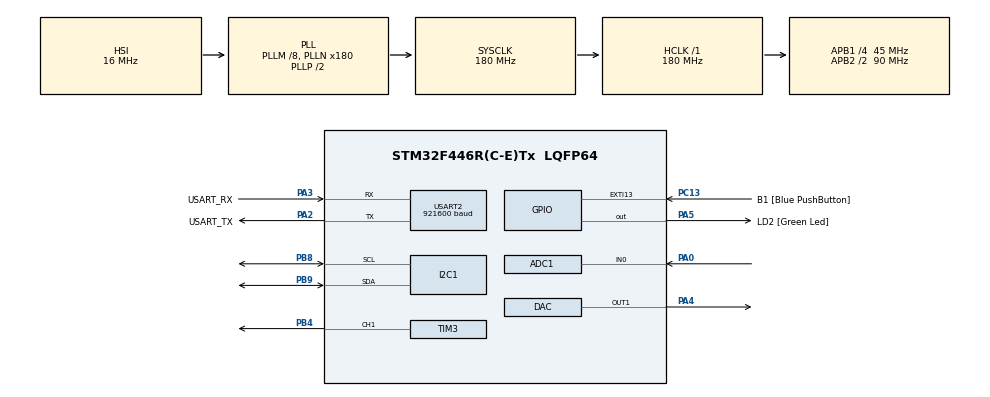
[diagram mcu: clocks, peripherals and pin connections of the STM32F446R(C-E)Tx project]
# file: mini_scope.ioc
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ADC1.Channel-0\#ChannelRegularConversion=ADC_CHANNEL_0
ADC1.ContinuousConvMode=DISABLE
ADC1.DMAContinuousRequests=ENABLE
ADC1.ExternalTrigConv=ADC_EXTERNALTRIGCONV_T2_TRGO
ADC1.NbrOfConversionFlag=1
ADC1.Rank-0\#ChannelRegularConversion=1
ADC1.SamplingTime-0\#ChannelRegularConversion=ADC_SAMPLETIME_56CYCLES
ADC1.master=1
DAC.DAC_Trigger=DAC_TRIGGER_T6_TRGO
Dma.ADC1.0.Direction=DMA_PERIPH_TO_MEMORY
Dma.ADC1.0.FIFOMode=DMA_FIFOMODE_DISABLE
Dma.ADC1.0.Instance=DMA2_Stream0
Dma.ADC1.0.MemDataAlignment=DMA_MDATAALIGN_HALFWORD
Dma.ADC1.0.MemInc=DMA_MINC_ENABLE
Dma.ADC1.0.Mode=DMA_CIRCULAR
Dma.ADC1.0.PeriphDataAlignment=DMA_PDATAALIGN_HALFWORD
Dma.ADC1.0.PeriphInc=DMA_PINC_DISABLE
Dma.ADC1.0.Priority=DMA_PRIORITY_LOW
Dma.DAC1.1.Direction=DMA_MEMORY_TO_PERIPH
Dma.DAC1.1.FIFOMode=DMA_FIFOMODE_DISABLE
Dma.DAC1.1.Instance=DMA1_Stream5
Dma.DAC1.1.MemDataAlignment=DMA_MDATAALIGN_HALFWORD
Dma.DAC1.1.MemInc=DMA_MINC_ENABLE
Dma.DAC1.1.Mode=DMA_CIRCULAR
Dma.DAC1.1.PeriphDataAlignment=DMA_PDATAALIGN_HALFWORD
Dma.DAC1.1.PeriphInc=DMA_PINC_DISABLE
Dma.DAC1.1.Priority=DMA_PRIORITY_LOW
Dma.Request0=ADC1
Dma.Request1=DAC1
Mcu.Family=STM32F4
Mcu.Name=STM32F446R(C-E)Tx
Mcu.Package=LQFP64
NVIC.DMA1_Stream5_IRQn=true\:0\:0\:false\:false\:true\:false\:true\:true
NVIC.DMA2_Stream0_IRQn=true\:0\:0\:false\:false\:true\:false\:true\:true
NVIC.PriorityGroup=NVIC_PRIORITYGROUP_0
PA0-WKUP.Signal=ADCx_IN0
PA13.GPIO_Label=TMS
PA13.Mode=Serial_Wire
PA13.Signal=SYS_JTMS-SWDIO
PA14.GPIO_Label=TCK
PA14.Mode=Serial_Wire
PA14.Signal=SYS_JTCK-SWCLK
PA2.GPIO_Label=USART_TX
PA2.Mode=Asynchronous
PA2.Signal=USART2_TX
PA3.GPIO_Label=USART_RX
PA3.Mode=Asynchronous
PA3.Signal=USART2_RX
PA4.Signal=COMP_DAC1_group
PA5.GPIO_Label=LD2 [Green Led]
PA5.Signal=GPIO_Output
PB3.GPIO_Label=SWO
PB3.Signal=SYS_JTDO-SWO
PB4.Signal=S_TIM3_CH1
PB8.Mode=I2C
PB8.Signal=I2C1_SCL
PB9.Mode=I2C
PB9.Signal=I2C1_SDA
PC13.GPIO_Label=B1 [Blue PushButton]
PC13.GPIO_ModeDefaultEXTI=GPIO_MODE_IT_FALLING
PC13.Signal=GPXTI13
PC14-OSC32_IN.Mode=LSE-External-Oscillator
PC14-OSC32_IN.Signal=RCC_OSC32_IN
PC15-OSC32_OUT.Mode=LSE-External-Oscillator
PC15-OSC32_OUT.Signal=RCC_OSC32_OUT
PH0-OSC_IN.Mode=HSE-External-Oscillator
PH0-OSC_IN.Signal=RCC_OSC_IN
PH1-OSC_OUT.Mode=HSE-External-Oscillator
PH1-OSC_OUT.Signal=RCC_OSC_OUT
ProjectManager.HeapSize=0x200
ProjectManager.StackSize=0x400
ProjectManager.TargetToolchain=STM32CubeIDE
RCC.48MHZClocksFreq_Value=84000000
RCC.AHBFreq_Value=180000000
RCC.APB1CLKDivider=RCC_HCLK_DIV4
RCC.APB1Freq_Value=45000000
RCC.APB1TimFreq_Value=90000000
RCC.APB2CLKDivider=RCC_HCLK_DIV2
RCC.APB2Freq_Value=90000000
RCC.APB2TimFreq_Value=180000000
RCC.CortexFreq_Value=180000000
RCC.FLatency-AdvancedSettings=FLASH_LATENCY_5
RCC.HCLKFreq_Value=180000000
RCC.HSE_VALUE=8000000
RCC.HSI_VALUE=16000000
RCC.PLLM=8
RCC.PLLN=180
RCC.SYSCLKFreq_VALUE=180000000
RCC.SYSCLKSource=RCC_SYSCLKSOURCE_PLLCLK
RCC.USBFreq_Value=180000000
RCC.VCOOutputFreq_Value=360000000
SH.ADCx_IN0.0=ADC1_IN0,IN0
SH.COMP_DAC1_group.0=DAC_OUT1,DAC_OUT1
SH.S_TIM3_CH1.0=TIM3_CH1,PWM Generation1 CH1
TIM2.Period=9
TIM2.Prescaler=89
TIM2.TIM_MasterOutputTrigger=TIM_TRGO_UPDATE
TIM3.Channel-PWM\ Generation1\ CH1=TIM_CHANNEL_1
TIM3.Period=999
TIM3.Prescaler=89
TIM3.Pulse-PWM\ Generation1\ CH1=500
TIM6.Period=899
TIM6.TIM_MasterOutputTrigger=TIM_TRGO_UPDATE
USART2.BaudRate=921600
USART2.VirtualMode=VM_ASYNC
VP_TIM2_VS_ClockSourceINT.Mode=Internal
VP_TIM6_VS_ClockSourceINT.Mode=Enable_Timer
board=NUCLEO-F446RE

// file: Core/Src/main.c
/* USER CODE BEGIN Header */
/* USER CODE END Header */
#include "main.h"

/* USER CODE BEGIN Includes */
#include <string.h>
#include <stdio.h>
#include <math.h>
/* USER CODE END Includes */

ADC_HandleTypeDef hadc1;
DMA_HandleTypeDef hdma_adc1;

DAC_HandleTypeDef hdac;
DMA_HandleTypeDef hdma_dac1;

I2C_HandleTypeDef hi2c1;

TIM_HandleTypeDef htim2;
TIM_HandleTypeDef htim3;
TIM_HandleTypeDef htim6;

UART_HandleTypeDef huart2;

/* USER CODE BEGIN PV */
#define N_WAVE 100
uint16_t wave[N_WAVE];
uint16_t adc_buf[512];
uint8_t  header[2] = {0xAA, 0x55};
uint16_t frame[512];
volatile uint8_t frame_ready = 0;
uint32_t last_lcd = 0;

int wave_type = 0;
uint8_t btn_prev = 1;
uint32_t last_btn = 0;
const char *wave_names[3] = {"Sin", "Tri", "Sqr"};
/* USER CODE END PV */

void SystemClock_Config(void);
static void MX_GPIO_Init(void);
static void MX_DMA_Init(void);
static void MX_USART2_UART_Init(void);
static void MX_ADC1_Init(void);
static void MX_TIM2_Init(void);
static void MX_TIM3_Init(void);
static void MX_I2C1_Init(void);
static void MX_DAC_Init(void);
static void MX_TIM6_Init(void);

/* USER CODE BEGIN 0 */
#define LCD_BL 0x08
#define LCD_EN 0x04
#define LCD_RS 0x01

void make_wave(int type)
{
  for (int i = 0; i < N_WAVE; i++)
  {
    float x = (float)i / N_WAVE;
    float y;
    if (type == 0)      y = sinf(2.0f * 3.14159265f * x);
    else if (type == 1) y = (x < 0.5f) ? (4.0f * x - 1.0f) : (3.0f - 4.0f * x);
    else                y = (x < 0.5f) ? 1.0f : -1.0f;
    wave[i] = (uint16_t)(2048.0f + 1800.0f * y);
  }
}

uint8_t lcd_addr = 0x27 << 1;

static void lcd_write4(uint8_t nibble, uint8_t rs)
{
  uint8_t d = (nibble & 0xF0) | LCD_BL | rs;
  uint8_t buf[2] = { d | LCD_EN, d };
  HAL_I2C_Master_Transmit(&hi2c1, lcd_addr, buf, 2, 10);
}

static void lcd_send(uint8_t value, uint8_t rs)
{
  lcd_write4(value & 0xF0, rs);
  lcd_write4((value << 4) & 0xF0, rs);
}

static void lcd_cmd(uint8_t c)  { lcd_send(c, 0); HAL_Delay(2); }
static void lcd_data(uint8_t c) { lcd_send(c, LCD_RS); }

void lcd_init(void)
{
  HAL_Delay(50);
  lcd_write4(0x30, 0); HAL_Delay(5);
  lcd_write4(0x30, 0); HAL_Delay(1);
  lcd_write4(0x30, 0); HAL_Delay(1);
  lcd_write4(0x20, 0); HAL_Delay(1);
  lcd_cmd(0x28);
  lcd_cmd(0x0C);
  lcd_cmd(0x06);
  lcd_cmd(0x01);
}

void lcd_set_cursor(uint8_t row, uint8_t col)
{
  lcd_cmd(0x80 | (col + (row ? 0x40 : 0x00)));
}

void lcd_print(const char *s)
{
  while (*s) lcd_data((uint8_t)*s++);
}

void measure_and_show(void)
{
  uint32_t sum = 0;
  uint16_t mn = 4095, mx = 0;
  for (int i = 0; i < 512; i++)
  {
    uint16_t s = frame[i];
    sum += s;
    if (s < mn) mn = s;
    if (s > mx) mx = s;
  }
  uint32_t vpp_mv = (uint32_t)(mx - mn) * 3300 / 4095;
  uint32_t avg_mv = (sum / 512) * 3300 / 4095;

  uint32_t freq = 0;
  uint16_t span = mx - mn;
  if (span > 200)
  {
    uint16_t mid = (mx + mn) / 2;
    uint16_t hi = mid + span / 4;
    uint16_t lo = mid - span / 4;
    int state = (frame[0] >= hi);
    int count = 0, first = 0, last = 0;
    for (int i = 0; i < 512; i++)
    {
      if (!state && frame[i] > hi)
      {
        state = 1;
        if (count == 0) first = i;
        last = i;
        count++;
      }
      else if (state && frame[i] < lo)
      {
        state = 0;
      }
    }
    if (count >= 2) freq = (uint32_t)(count - 1) * 100000 / (last - first);
  }

  char line[17];
  snprintf(line, sizeof(line), "Vpp:%lu.%02luV  %s  ",
           (unsigned long)(vpp_mv / 1000), (unsigned long)((vpp_mv % 1000) / 10),
           wave_names[wave_type]);
  lcd_set_cursor(0, 0);
  lcd_print(line);
  snprintf(line, sizeof(line), "A:%lu.%02luV F:%4luHz",
           (unsigned long)(avg_mv / 1000), (unsigned long)((avg_mv % 1000) / 10),
           (unsigned long)freq);
  lcd_set_cursor(1, 0);
  lcd_print(line);
}
/* USER CODE END 0 */

int main(void)
{

  HAL_Init();

  SystemClock_Config();

  MX_GPIO_Init();
  MX_DMA_Init();
  MX_USART2_UART_Init();
  MX_ADC1_Init();
  MX_TIM2_Init();
  MX_TIM3_Init();
  MX_I2C1_Init();
  MX_DAC_Init();
  MX_TIM6_Init();
  /* USER CODE BEGIN 2 */
  if (HAL_I2C_IsDeviceReady(&hi2c1, 0x27 << 1, 2, 10) != HAL_OK)
    lcd_addr = 0x3F << 1;
  lcd_init();
  lcd_set_cursor(0, 0);
  lcd_print("Mini Scope");
  lcd_set_cursor(1, 0);
  lcd_print("F446RE ready");

  HAL_ADC_Start_DMA(&hadc1, (uint32_t*)adc_buf, 512);
  HAL_TIM_Base_Start(&htim2);
  HAL_TIM_PWM_Start(&htim3, TIM_CHANNEL_1);

  make_wave(0);
  HAL_DAC_Start_DMA(&hdac, DAC_CHANNEL_1, (uint32_t*)wave, N_WAVE, DAC_ALIGN_12B_R);
  HAL_TIM_Base_Start(&htim6);
  /* USER CODE END 2 */

  while (1)
  {

    /* USER CODE BEGIN 3 */
    uint8_t b = HAL_GPIO_ReadPin(B1_GPIO_Port, B1_Pin);
    if (b == GPIO_PIN_RESET && btn_prev == GPIO_PIN_SET && HAL_GetTick() - last_btn > 200)
    {
      last_btn = HAL_GetTick();
      wave_type = (wave_type + 1) % 3;
      make_wave(wave_type);
    }
    btn_prev = b;

    if (frame_ready)
    {
      HAL_UART_Transmit(&huart2, header, 2, 10);
      HAL_UART_Transmit(&huart2, (uint8_t*)frame, sizeof(frame), 100);
      if (HAL_GetTick() - last_lcd >= 300)
      {
        last_lcd = HAL_GetTick();
        measure_and_show();
      }
      frame_ready = 0;
    }
  }
  /* USER CODE END 3 */
}

void SystemClock_Config(void)
{
  RCC_OscInitTypeDef RCC_OscInitStruct = {0};
  RCC_ClkInitTypeDef RCC_ClkInitStruct = {0};

  __HAL_RCC_PWR_CLK_ENABLE();
  __HAL_PWR_VOLTAGESCALING_CONFIG(PWR_REGULATOR_VOLTAGE_SCALE1);

  RCC_OscInitStruct.OscillatorType = RCC_OSCILLATORTYPE_HSI;
  RCC_OscInitStruct.HSIState = RCC_HSI_ON;
  RCC_OscInitStruct.HSICalibrationValue = RCC_HSICALIBRATION_DEFAULT;
  RCC_OscInitStruct.PLL.PLLState = RCC_PLL_ON;
  RCC_OscInitStruct.PLL.PLLSource = RCC_PLLSOURCE_HSI;
  RCC_OscInitStruct.PLL.PLLM = 8;
  RCC_OscInitStruct.PLL.PLLN = 180;
  RCC_OscInitStruct.PLL.PLLP = RCC_PLLP_DIV2;
  RCC_OscInitStruct.PLL.PLLQ = 2;
  RCC_OscInitStruct.PLL.PLLR = 2;
  if (HAL_RCC_OscConfig(&RCC_OscInitStruct) != HAL_OK)
  {
    Error_Handler();
  }

  if (HAL_PWREx_EnableOverDrive() != HAL_OK)
  {
    Error_Handler();
  }

  RCC_ClkInitStruct.ClockType = RCC_CLOCKTYPE_HCLK|RCC_CLOCKTYPE_SYSCLK
                              |RCC_CLOCKTYPE_PCLK1|RCC_CLOCKTYPE_PCLK2;
  RCC_ClkInitStruct.SYSCLKSource = RCC_SYSCLKSOURCE_PLLCLK;
  RCC_ClkInitStruct.AHBCLKDivider = RCC_SYSCLK_DIV1;
  RCC_ClkInitStruct.APB1CLKDivider = RCC_HCLK_DIV4;
  RCC_ClkInitStruct.APB2CLKDivider = RCC_HCLK_DIV2;

  if (HAL_RCC_ClockConfig(&RCC_ClkInitStruct, FLASH_LATENCY_5) != HAL_OK)
  {
    Error_Handler();
  }
}

static void MX_ADC1_Init(void)
{
  ADC_ChannelConfTypeDef sConfig = {0};

  hadc1.Instance = ADC1;
  hadc1.Init.ClockPrescaler = ADC_CLOCK_SYNC_PCLK_DIV4;
  hadc1.Init.Resolution = ADC_RESOLUTION_12B;
  hadc1.Init.ScanConvMode = DISABLE;
  hadc1.Init.ContinuousConvMode = DISABLE;
  hadc1.Init.DiscontinuousConvMode = DISABLE;
  hadc1.Init.ExternalTrigConvEdge = ADC_EXTERNALTRIGCONVEDGE_RISING;
  hadc1.Init.ExternalTrigConv = ADC_EXTERNALTRIGCONV_T2_TRGO;
  hadc1.Init.DataAlign = ADC_DATAALIGN_RIGHT;
  hadc1.Init.NbrOfConversion = 1;
  hadc1.Init.DMAContinuousRequests = ENABLE;
  hadc1.Init.EOCSelection = ADC_EOC_SINGLE_CONV;
  if (HAL_ADC_Init(&hadc1) != HAL_OK)
  {
    Error_Handler();
  }

  sConfig.Channel = ADC_CHANNEL_0;
  sConfig.Rank = 1;
  sConfig.SamplingTime = ADC_SAMPLETIME_56CYCLES;
  if (HAL_ADC_ConfigChannel(&hadc1, &sConfig) != HAL_OK)
  {
    Error_Handler();
  }
}

static void MX_DAC_Init(void)
{
  DAC_ChannelConfTypeDef sConfig = {0};

  hdac.Instance = DAC;
  if (HAL_DAC_Init(&hdac) != HAL_OK)
  {
    Error_Handler();
  }

  sConfig.DAC_Trigger = DAC_TRIGGER_T6_TRGO;
  sConfig.DAC_OutputBuffer = DAC_OUTPUTBUFFER_ENABLE;
  if (HAL_DAC_ConfigChannel(&hdac, &sConfig, DAC_CHANNEL_1) != HAL_OK)
  {
    Error_Handler();
  }
}

static void MX_I2C1_Init(void)
{
  hi2c1.Instance = I2C1;
  hi2c1.Init.ClockSpeed = 100000;
  hi2c1.Init.DutyCycle = I2C_DUTYCYCLE_2;
  hi2c1.Init.OwnAddress1 = 0;
  hi2c1.Init.AddressingMode = I2C_ADDRESSINGMODE_7BIT;
  hi2c1.Init.DualAddressMode = I2C_DUALADDRESS_DISABLE;
  hi2c1.Init.OwnAddress2 = 0;
  hi2c1.Init.GeneralCallMode = I2C_GENERALCALL_DISABLE;
  hi2c1.Init.NoStretchMode = I2C_NOSTRETCH_DISABLE;
  if (HAL_I2C_Init(&hi2c1) != HAL_OK)
  {
    Error_Handler();
  }
}

static void MX_TIM2_Init(void)
{
  TIM_ClockConfigTypeDef sClockSourceConfig = {0};
  TIM_MasterConfigTypeDef sMasterConfig = {0};

  htim2.Instance = TIM2;
  htim2.Init.Prescaler = 89;
  htim2.Init.CounterMode = TIM_COUNTERMODE_UP;
  htim2.Init.Period = 9;
  htim2.Init.ClockDivision = TIM_CLOCKDIVISION_DIV1;
  htim2.Init.AutoReloadPreload = TIM_AUTORELOAD_PRELOAD_DISABLE;
  if (HAL_TIM_Base_Init(&htim2) != HAL_OK)
  {
    Error_Handler();
  }
  sClockSourceConfig.ClockSource = TIM_CLOCKSOURCE_INTERNAL;
  if (HAL_TIM_ConfigClockSource(&htim2, &sClockSourceConfig) != HAL_OK)
  {
    Error_Handler();
  }
  sMasterConfig.MasterOutputTrigger = TIM_TRGO_UPDATE;
  sMasterConfig.MasterSlaveMode = TIM_MASTERSLAVEMODE_DISABLE;
  if (HAL_TIMEx_MasterConfigSynchronization(&htim2, &sMasterConfig) != HAL_OK)
  {
    Error_Handler();
  }
}

static void MX_TIM3_Init(void)
{
  TIM_MasterConfigTypeDef sMasterConfig = {0};
  TIM_OC_InitTypeDef sConfigOC = {0};

  htim3.Instance = TIM3;
  htim3.Init.Prescaler = 89;
  htim3.Init.CounterMode = TIM_COUNTERMODE_UP;
  htim3.Init.Period = 999;
  htim3.Init.ClockDivision = TIM_CLOCKDIVISION_DIV1;
  htim3.Init.AutoReloadPreload = TIM_AUTORELOAD_PRELOAD_DISABLE;
  if (HAL_TIM_PWM_Init(&htim3) != HAL_OK)
  {
    Error_Handler();
  }
  sMasterConfig.MasterOutputTrigger = TIM_TRGO_RESET;
  sMasterConfig.MasterSlaveMode = TIM_MASTERSLAVEMODE_DISABLE;
  if (HAL_TIMEx_MasterConfigSynchronization(&htim3, &sMasterConfig) != HAL_OK)
  {
    Error_Handler();
  }
  sConfigOC.OCMode = TIM_OCMODE_PWM1;
  sConfigOC.Pulse = 500;
  sConfigOC.OCPolarity = TIM_OCPOLARITY_HIGH;
  sConfigOC.OCFastMode = TIM_OCFAST_DISABLE;
  if (HAL_TIM_PWM_ConfigChannel(&htim3, &sConfigOC, TIM_CHANNEL_1) != HAL_OK)
  {
    Error_Handler();
  }
  HAL_TIM_MspPostInit(&htim3);
}

static void MX_TIM6_Init(void)
{
  TIM_MasterConfigTypeDef sMasterConfig = {0};

  htim6.Instance = TIM6;
  htim6.Init.Prescaler = 0;
  htim6.Init.CounterMode = TIM_COUNTERMODE_UP;
  htim6.Init.Period = 899;
  htim6.Init.AutoReloadPreload = TIM_AUTORELOAD_PRELOAD_DISABLE;
  if (HAL_TIM_Base_Init(&htim6) != HAL_OK)
  {
    Error_Handler();
  }
  sMasterConfig.MasterOutputTrigger = TIM_TRGO_UPDATE;
  sMasterConfig.MasterSlaveMode = TIM_MASTERSLAVEMODE_DISABLE;
  if (HAL_TIMEx_MasterConfigSynchronization(&htim6, &sMasterConfig) != HAL_OK)
  {
    Error_Handler();
  }
}

static void MX_USART2_UART_Init(void)
{
  huart2.Instance = USART2;
  huart2.Init.BaudRate = 921600;
  huart2.Init.WordLength = UART_WORDLENGTH_8B;
  huart2.Init.StopBits = UART_STOPBITS_1;
  huart2.Init.Parity = UART_PARITY_NONE;
  huart2.Init.Mode = UART_MODE_TX_RX;
  huart2.Init.HwFlowCtl = UART_HWCONTROL_NONE;
  huart2.Init.OverSampling = UART_OVERSAMPLING_16;
  if (HAL_UART_Init(&huart2) != HAL_OK)
  {
    Error_Handler();
  }
}

static void MX_DMA_Init(void)
{
  __HAL_RCC_DMA2_CLK_ENABLE();
  __HAL_RCC_DMA1_CLK_ENABLE();

  HAL_NVIC_SetPriority(DMA1_Stream5_IRQn, 0, 0);
  HAL_NVIC_EnableIRQ(DMA1_Stream5_IRQn);
  HAL_NVIC_SetPriority(DMA2_Stream0_IRQn, 0, 0);
  HAL_NVIC_EnableIRQ(DMA2_Stream0_IRQn);
}

static void MX_GPIO_Init(void)
{
  GPIO_InitTypeDef GPIO_InitStruct = {0};

  __HAL_RCC_GPIOC_CLK_ENABLE();
  __HAL_RCC_GPIOH_CLK_ENABLE();
  __HAL_RCC_GPIOA_CLK_ENABLE();
  __HAL_RCC_GPIOB_CLK_ENABLE();

  HAL_GPIO_WritePin(LD2_GPIO_Port, LD2_Pin, GPIO_PIN_RESET);

  GPIO_InitStruct.Pin = B1_Pin;
  GPIO_InitStruct.Mode = GPIO_MODE_IT_FALLING;
  GPIO_InitStruct.Pull = GPIO_NOPULL;
  HAL_GPIO_Init(B1_GPIO_Port, &GPIO_InitStruct);

  GPIO_InitStruct.Pin = LD2_Pin;
  GPIO_InitStruct.Mode = GPIO_MODE_OUTPUT_PP;
  GPIO_InitStruct.Pull = GPIO_NOPULL;
  GPIO_InitStruct.Speed = GPIO_SPEED_FREQ_LOW;
  HAL_GPIO_Init(LD2_GPIO_Port, &GPIO_InitStruct);
}

/* USER CODE BEGIN 4 */
void HAL_ADC_ConvCpltCallback(ADC_HandleTypeDef *hadc)
{
  if (hadc->Instance == ADC1 && !frame_ready)
  {
    memcpy(frame, adc_buf, sizeof(frame));
    frame_ready = 1;
  }
}
/* USER CODE END 4 */

void Error_Handler(void)
{
  __disable_irq();
  while (1)
  {
  }
}
